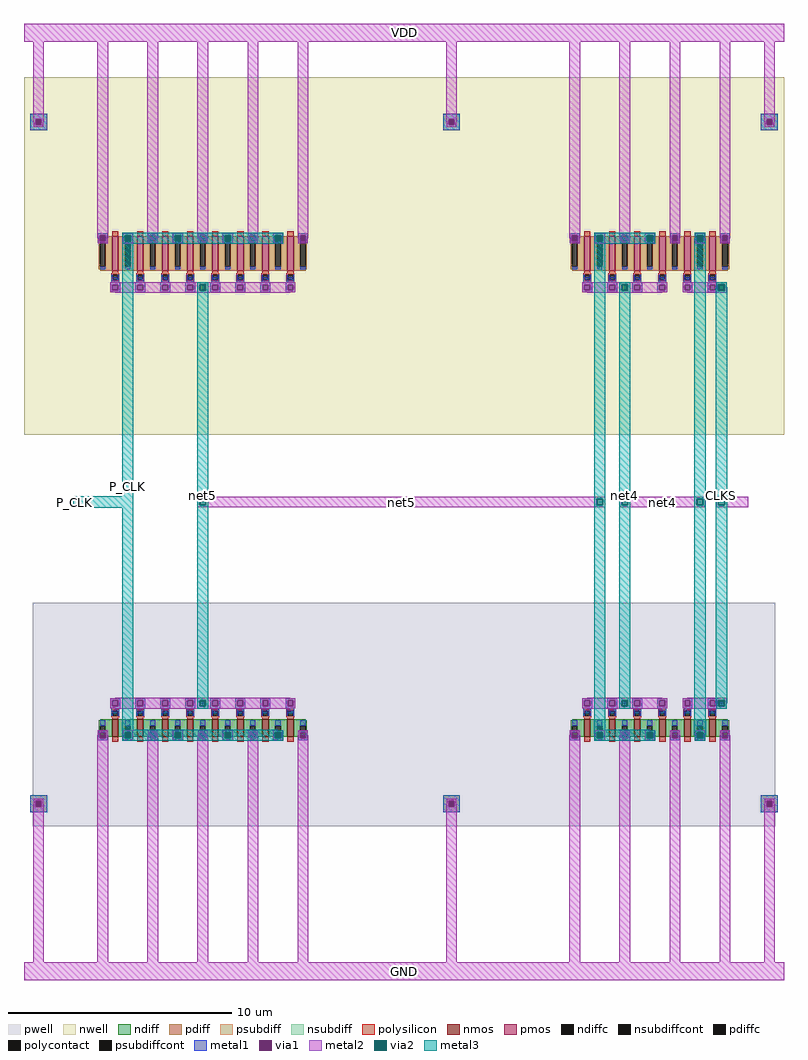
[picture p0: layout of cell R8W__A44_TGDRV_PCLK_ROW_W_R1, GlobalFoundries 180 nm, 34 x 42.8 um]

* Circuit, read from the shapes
.subckt R8W__A44_TGDRV_PCLK_ROW_W_R1 CLKS GND P_CLK VDD net4 net5
XM1 P_CLK net5 GND GND nfet_03v3 w=0.78u l=0.28u m=8
XM2 net5 net4 GND GND nfet_03v3 w=0.78u l=0.28u m=4
XM3 net4 CLKS GND GND nfet_03v3 w=0.78u l=0.28u m=2
XM4 P_CLK net5 VDD VDD pfet_03v3 w=1.56u l=0.28u m=8
XM5 net5 net4 VDD VDD pfet_03v3 w=1.56u l=0.28u m=4
XM6 net4 CLKS VDD VDD pfet_03v3 w=1.56u l=0.28u m=2
.ends

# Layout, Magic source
magic
tech gf180mcuD
magscale 1 10
<< nwell >>
rect 0 13800 6800 17000
<< pwell >>
rect 80 10300 6720 12300
<< psubdiff >>
rect 54 10523 206 10576
rect 54 10477 107 10523
rect 153 10477 206 10523
rect 54 10424 206 10477
rect 3749 10523 3901 10576
rect 3749 10477 3802 10523
rect 3848 10477 3901 10523
rect 3749 10424 3901 10477
rect 6594 10523 6746 10576
rect 6594 10477 6647 10523
rect 6693 10477 6746 10523
rect 6594 10424 6746 10477
<< nsubdiff >>
rect 54 16623 206 16676
rect 54 16577 107 16623
rect 153 16577 206 16623
rect 54 16524 206 16577
rect 3749 16623 3901 16676
rect 3749 16577 3802 16623
rect 3848 16577 3901 16623
rect 3749 16524 3901 16577
rect 6594 16623 6746 16676
rect 6594 16577 6647 16623
rect 6693 16577 6746 16623
rect 6594 16524 6746 16577
<< psubdiffcont >>
rect 107 10477 153 10523
rect 3802 10477 3848 10523
rect 6647 10477 6693 10523
<< nsubdiffcont >>
rect 107 16577 153 16623
rect 3802 16577 3848 16623
rect 6647 16577 6693 16623
<< metal1 >>
rect 54 16626 206 16676
rect 54 16574 104 16626
rect 156 16574 206 16626
rect 54 16524 206 16574
rect 3749 16626 3901 16676
rect 3749 16574 3799 16626
rect 3851 16574 3901 16626
rect 3749 16524 3901 16574
rect 6594 16626 6746 16676
rect 6594 16574 6644 16626
rect 6696 16574 6746 16626
rect 6594 16524 6746 16574
rect 660 15585 748 15603
rect 660 15533 678 15585
rect 730 15533 748 15585
rect 660 15515 748 15533
rect 884 15585 972 15603
rect 884 15533 902 15585
rect 954 15533 972 15585
rect 884 15515 972 15533
rect 1108 15585 1196 15603
rect 1108 15533 1126 15585
rect 1178 15533 1196 15585
rect 1108 15515 1196 15533
rect 1332 15585 1420 15603
rect 1332 15533 1350 15585
rect 1402 15533 1420 15585
rect 1332 15515 1420 15533
rect 1556 15585 1644 15603
rect 1556 15533 1574 15585
rect 1626 15533 1644 15585
rect 1556 15515 1644 15533
rect 1780 15585 1868 15603
rect 1780 15533 1798 15585
rect 1850 15533 1868 15585
rect 1780 15515 1868 15533
rect 2004 15585 2092 15603
rect 2004 15533 2022 15585
rect 2074 15533 2092 15585
rect 2004 15515 2092 15533
rect 2228 15585 2316 15603
rect 2228 15533 2246 15585
rect 2298 15533 2316 15585
rect 2228 15515 2316 15533
rect 2452 15585 2540 15603
rect 2452 15533 2470 15585
rect 2522 15533 2540 15585
rect 2452 15515 2540 15533
rect 4884 15585 4972 15603
rect 4884 15533 4902 15585
rect 4954 15533 4972 15585
rect 4884 15515 4972 15533
rect 5108 15585 5196 15603
rect 5108 15533 5126 15585
rect 5178 15533 5196 15585
rect 5108 15515 5196 15533
rect 5332 15585 5420 15603
rect 5332 15533 5350 15585
rect 5402 15533 5420 15585
rect 5332 15515 5420 15533
rect 5556 15585 5644 15603
rect 5556 15533 5574 15585
rect 5626 15533 5644 15585
rect 5556 15515 5644 15533
rect 5780 15585 5868 15603
rect 5780 15533 5798 15585
rect 5850 15533 5868 15585
rect 5780 15515 5868 15533
rect 6004 15585 6092 15603
rect 6004 15533 6022 15585
rect 6074 15533 6092 15585
rect 6004 15515 6092 15533
rect 6228 15585 6316 15603
rect 6228 15533 6246 15585
rect 6298 15533 6316 15585
rect 6228 15515 6316 15533
rect 782 15164 850 15212
rect 1006 15164 1074 15212
rect 1230 15164 1298 15212
rect 1454 15164 1522 15212
rect 1678 15164 1746 15212
rect 1902 15164 1970 15212
rect 2126 15164 2194 15212
rect 2350 15164 2418 15212
rect 5006 15164 5074 15212
rect 5230 15164 5298 15212
rect 5454 15164 5522 15212
rect 5678 15164 5746 15212
rect 5902 15164 5970 15212
rect 6126 15164 6194 15212
rect 772 15146 860 15164
rect 772 15094 790 15146
rect 842 15094 860 15146
rect 772 15076 860 15094
rect 996 15146 1084 15164
rect 996 15094 1014 15146
rect 1066 15094 1084 15146
rect 996 15076 1084 15094
rect 1220 15146 1308 15164
rect 1220 15094 1238 15146
rect 1290 15094 1308 15146
rect 1220 15076 1308 15094
rect 1444 15146 1532 15164
rect 1444 15094 1462 15146
rect 1514 15094 1532 15146
rect 1444 15076 1532 15094
rect 1668 15146 1756 15164
rect 1668 15094 1686 15146
rect 1738 15094 1756 15146
rect 1668 15076 1756 15094
rect 1892 15146 1980 15164
rect 1892 15094 1910 15146
rect 1962 15094 1980 15146
rect 1892 15076 1980 15094
rect 2116 15146 2204 15164
rect 2116 15094 2134 15146
rect 2186 15094 2204 15146
rect 2116 15076 2204 15094
rect 2340 15146 2428 15164
rect 2340 15094 2358 15146
rect 2410 15094 2428 15146
rect 2340 15076 2428 15094
rect 4996 15146 5084 15164
rect 4996 15094 5014 15146
rect 5066 15094 5084 15146
rect 4996 15076 5084 15094
rect 5220 15146 5308 15164
rect 5220 15094 5238 15146
rect 5290 15094 5308 15146
rect 5220 15076 5308 15094
rect 5444 15146 5532 15164
rect 5444 15094 5462 15146
rect 5514 15094 5532 15146
rect 5444 15076 5532 15094
rect 5668 15146 5756 15164
rect 5668 15094 5686 15146
rect 5738 15094 5756 15146
rect 5668 15076 5756 15094
rect 5892 15146 5980 15164
rect 5892 15094 5910 15146
rect 5962 15094 5980 15146
rect 5892 15076 5980 15094
rect 6116 15146 6204 15164
rect 6116 15094 6134 15146
rect 6186 15094 6204 15146
rect 6116 15076 6204 15094
rect 772 11426 860 11444
rect 772 11374 790 11426
rect 842 11374 860 11426
rect 772 11356 860 11374
rect 996 11426 1084 11444
rect 996 11374 1014 11426
rect 1066 11374 1084 11426
rect 996 11356 1084 11374
rect 1220 11426 1308 11444
rect 1220 11374 1238 11426
rect 1290 11374 1308 11426
rect 1220 11356 1308 11374
rect 1444 11426 1532 11444
rect 1444 11374 1462 11426
rect 1514 11374 1532 11426
rect 1444 11356 1532 11374
rect 1668 11426 1756 11444
rect 1668 11374 1686 11426
rect 1738 11374 1756 11426
rect 1668 11356 1756 11374
rect 1892 11426 1980 11444
rect 1892 11374 1910 11426
rect 1962 11374 1980 11426
rect 1892 11356 1980 11374
rect 2116 11426 2204 11444
rect 2116 11374 2134 11426
rect 2186 11374 2204 11426
rect 2116 11356 2204 11374
rect 2340 11426 2428 11444
rect 2340 11374 2358 11426
rect 2410 11374 2428 11426
rect 2340 11356 2428 11374
rect 4996 11426 5084 11444
rect 4996 11374 5014 11426
rect 5066 11374 5084 11426
rect 4996 11356 5084 11374
rect 5220 11426 5308 11444
rect 5220 11374 5238 11426
rect 5290 11374 5308 11426
rect 5220 11356 5308 11374
rect 5444 11426 5532 11444
rect 5444 11374 5462 11426
rect 5514 11374 5532 11426
rect 5444 11356 5532 11374
rect 5668 11426 5756 11444
rect 5668 11374 5686 11426
rect 5738 11374 5756 11426
rect 5668 11356 5756 11374
rect 5892 11426 5980 11444
rect 5892 11374 5910 11426
rect 5962 11374 5980 11426
rect 5892 11356 5980 11374
rect 6116 11426 6204 11444
rect 6116 11374 6134 11426
rect 6186 11374 6204 11426
rect 6116 11356 6204 11374
rect 782 11310 850 11356
rect 1006 11310 1074 11356
rect 1230 11310 1298 11356
rect 1454 11310 1522 11356
rect 1678 11310 1746 11356
rect 1902 11310 1970 11356
rect 2126 11310 2194 11356
rect 2350 11310 2418 11356
rect 5006 11310 5074 11356
rect 5230 11310 5298 11356
rect 5454 11310 5522 11356
rect 5678 11310 5746 11356
rect 5902 11310 5970 11356
rect 6126 11310 6194 11356
rect 660 11138 748 11156
rect 660 11086 678 11138
rect 730 11086 748 11138
rect 660 11068 748 11086
rect 884 11138 972 11156
rect 884 11086 902 11138
rect 954 11086 972 11138
rect 884 11068 972 11086
rect 1108 11138 1196 11156
rect 1108 11086 1126 11138
rect 1178 11086 1196 11138
rect 1108 11068 1196 11086
rect 1332 11138 1420 11156
rect 1332 11086 1350 11138
rect 1402 11086 1420 11138
rect 1332 11068 1420 11086
rect 1556 11138 1644 11156
rect 1556 11086 1574 11138
rect 1626 11086 1644 11138
rect 1556 11068 1644 11086
rect 1780 11138 1868 11156
rect 1780 11086 1798 11138
rect 1850 11086 1868 11138
rect 1780 11068 1868 11086
rect 2004 11138 2092 11156
rect 2004 11086 2022 11138
rect 2074 11086 2092 11138
rect 2004 11068 2092 11086
rect 2228 11138 2316 11156
rect 2228 11086 2246 11138
rect 2298 11086 2316 11138
rect 2228 11068 2316 11086
rect 2452 11138 2540 11156
rect 2452 11086 2470 11138
rect 2522 11086 2540 11138
rect 2452 11068 2540 11086
rect 4884 11138 4972 11156
rect 4884 11086 4902 11138
rect 4954 11086 4972 11138
rect 4884 11068 4972 11086
rect 5108 11138 5196 11156
rect 5108 11086 5126 11138
rect 5178 11086 5196 11138
rect 5108 11068 5196 11086
rect 5332 11138 5420 11156
rect 5332 11086 5350 11138
rect 5402 11086 5420 11138
rect 5332 11068 5420 11086
rect 5556 11138 5644 11156
rect 5556 11086 5574 11138
rect 5626 11086 5644 11138
rect 5556 11068 5644 11086
rect 5780 11138 5868 11156
rect 5780 11086 5798 11138
rect 5850 11086 5868 11138
rect 5780 11068 5868 11086
rect 6004 11138 6092 11156
rect 6004 11086 6022 11138
rect 6074 11086 6092 11138
rect 6004 11068 6092 11086
rect 6228 11138 6316 11156
rect 6228 11086 6246 11138
rect 6298 11086 6316 11138
rect 6228 11068 6316 11086
rect 54 10526 206 10576
rect 54 10474 104 10526
rect 156 10474 206 10526
rect 54 10424 206 10474
rect 3749 10526 3901 10576
rect 3749 10474 3799 10526
rect 3851 10474 3901 10526
rect 3749 10424 3901 10474
rect 6594 10526 6746 10576
rect 6594 10474 6644 10526
rect 6696 10474 6746 10526
rect 6594 10424 6746 10474
<< via1 >>
rect 104 16623 156 16626
rect 104 16577 107 16623
rect 107 16577 153 16623
rect 153 16577 156 16623
rect 104 16574 156 16577
rect 3799 16623 3851 16626
rect 3799 16577 3802 16623
rect 3802 16577 3848 16623
rect 3848 16577 3851 16623
rect 3799 16574 3851 16577
rect 6644 16623 6696 16626
rect 6644 16577 6647 16623
rect 6647 16577 6693 16623
rect 6693 16577 6696 16623
rect 6644 16574 6696 16577
rect 678 15533 730 15585
rect 902 15533 954 15585
rect 1126 15533 1178 15585
rect 1350 15533 1402 15585
rect 1574 15533 1626 15585
rect 1798 15533 1850 15585
rect 2022 15533 2074 15585
rect 2246 15533 2298 15585
rect 2470 15533 2522 15585
rect 4902 15533 4954 15585
rect 5126 15533 5178 15585
rect 5350 15533 5402 15585
rect 5574 15533 5626 15585
rect 5798 15533 5850 15585
rect 6022 15533 6074 15585
rect 6246 15533 6298 15585
rect 790 15094 842 15146
rect 1014 15094 1066 15146
rect 1238 15094 1290 15146
rect 1462 15094 1514 15146
rect 1686 15094 1738 15146
rect 1910 15094 1962 15146
rect 2134 15094 2186 15146
rect 2358 15094 2410 15146
rect 5014 15094 5066 15146
rect 5238 15094 5290 15146
rect 5462 15094 5514 15146
rect 5686 15094 5738 15146
rect 5910 15094 5962 15146
rect 6134 15094 6186 15146
rect 790 11374 842 11426
rect 1014 11374 1066 11426
rect 1238 11374 1290 11426
rect 1462 11374 1514 11426
rect 1686 11374 1738 11426
rect 1910 11374 1962 11426
rect 2134 11374 2186 11426
rect 2358 11374 2410 11426
rect 5014 11374 5066 11426
rect 5238 11374 5290 11426
rect 5462 11374 5514 11426
rect 5686 11374 5738 11426
rect 5910 11374 5962 11426
rect 6134 11374 6186 11426
rect 678 11086 730 11138
rect 902 11086 954 11138
rect 1126 11086 1178 11138
rect 1350 11086 1402 11138
rect 1574 11086 1626 11138
rect 1798 11086 1850 11138
rect 2022 11086 2074 11138
rect 2246 11086 2298 11138
rect 2470 11086 2522 11138
rect 4902 11086 4954 11138
rect 5126 11086 5178 11138
rect 5350 11086 5402 11138
rect 5574 11086 5626 11138
rect 5798 11086 5850 11138
rect 6022 11086 6074 11138
rect 6246 11086 6298 11138
rect 104 10523 156 10526
rect 104 10477 107 10523
rect 107 10477 153 10523
rect 153 10477 156 10523
rect 104 10474 156 10477
rect 3799 10523 3851 10526
rect 3799 10477 3802 10523
rect 3802 10477 3848 10523
rect 3848 10477 3851 10523
rect 3799 10474 3851 10477
rect 6644 10523 6696 10526
rect 6644 10477 6647 10523
rect 6647 10477 6693 10523
rect 6693 10477 6696 10523
rect 6644 10474 6696 10477
<< metal2 >>
rect 0 17320 6800 17480
rect 82 16626 178 17320
rect 82 16600 104 16626
rect 86 16574 104 16600
rect 156 16600 178 16626
rect 156 16574 174 16600
rect 86 16556 174 16574
rect 656 15585 752 17320
rect 656 15559 678 15585
rect 660 15533 678 15559
rect 730 15559 752 15585
rect 880 15587 976 15607
rect 730 15533 748 15559
rect 660 15515 748 15533
rect 880 15531 900 15587
rect 956 15531 976 15587
rect 1104 15585 1200 17320
rect 1104 15559 1126 15585
rect 880 15511 976 15531
rect 1108 15533 1126 15559
rect 1178 15559 1200 15585
rect 1328 15587 1424 15607
rect 1178 15533 1196 15559
rect 1108 15515 1196 15533
rect 1328 15531 1348 15587
rect 1404 15531 1424 15587
rect 1552 15585 1648 17320
rect 1552 15559 1574 15585
rect 1328 15511 1424 15531
rect 1556 15533 1574 15559
rect 1626 15559 1648 15585
rect 1776 15587 1872 15607
rect 1626 15533 1644 15559
rect 1556 15515 1644 15533
rect 1776 15531 1796 15587
rect 1852 15531 1872 15587
rect 2000 15585 2096 17320
rect 2000 15559 2022 15585
rect 1776 15511 1872 15531
rect 2004 15533 2022 15559
rect 2074 15559 2096 15585
rect 2224 15587 2320 15607
rect 2074 15533 2092 15559
rect 2004 15515 2092 15533
rect 2224 15531 2244 15587
rect 2300 15531 2320 15587
rect 2448 15585 2544 17320
rect 3777 16626 3873 17320
rect 3777 16600 3799 16626
rect 3781 16574 3799 16600
rect 3851 16600 3873 16626
rect 3851 16574 3869 16600
rect 3781 16556 3869 16574
rect 2448 15559 2470 15585
rect 2224 15511 2320 15531
rect 2452 15533 2470 15559
rect 2522 15559 2544 15585
rect 4880 15585 4976 17320
rect 4880 15559 4902 15585
rect 2522 15533 2540 15559
rect 2452 15515 2540 15533
rect 4884 15533 4902 15559
rect 4954 15559 4976 15585
rect 5104 15587 5200 15607
rect 4954 15533 4972 15559
rect 4884 15515 4972 15533
rect 5104 15531 5124 15587
rect 5180 15531 5200 15587
rect 5328 15585 5424 17320
rect 5328 15559 5350 15585
rect 5104 15511 5200 15531
rect 5332 15533 5350 15559
rect 5402 15559 5424 15585
rect 5552 15587 5648 15607
rect 5402 15533 5420 15559
rect 5332 15515 5420 15533
rect 5552 15531 5572 15587
rect 5628 15531 5648 15587
rect 5776 15585 5872 17320
rect 5776 15559 5798 15585
rect 5552 15511 5648 15531
rect 5780 15533 5798 15559
rect 5850 15559 5872 15585
rect 6000 15587 6096 15607
rect 5850 15533 5868 15559
rect 5780 15515 5868 15533
rect 6000 15531 6020 15587
rect 6076 15531 6096 15587
rect 6224 15585 6320 17320
rect 6622 16626 6718 17320
rect 6622 16600 6644 16626
rect 6626 16574 6644 16600
rect 6696 16600 6718 16626
rect 6696 16574 6714 16600
rect 6626 16556 6714 16574
rect 6224 15559 6246 15585
rect 6000 15511 6096 15531
rect 6228 15533 6246 15559
rect 6298 15559 6320 15585
rect 6298 15533 6316 15559
rect 6228 15515 6316 15533
rect 816 15164 2384 15168
rect 5040 15164 5712 15168
rect 5936 15164 6288 15168
rect 772 15148 2428 15164
rect 772 15146 1572 15148
rect 772 15094 790 15146
rect 842 15094 1014 15146
rect 1066 15094 1238 15146
rect 1290 15094 1462 15146
rect 1514 15094 1572 15146
rect 772 15092 1572 15094
rect 1628 15146 2428 15148
rect 1628 15094 1686 15146
rect 1738 15094 1910 15146
rect 1962 15094 2134 15146
rect 2186 15094 2358 15146
rect 2410 15094 2428 15146
rect 1628 15092 2428 15094
rect 772 15076 2428 15092
rect 4996 15148 5756 15164
rect 4996 15146 5348 15148
rect 4996 15094 5014 15146
rect 5066 15094 5238 15146
rect 5290 15094 5348 15146
rect 4996 15092 5348 15094
rect 5404 15146 5756 15148
rect 5404 15094 5462 15146
rect 5514 15094 5686 15146
rect 5738 15094 5756 15146
rect 5404 15092 5756 15094
rect 4996 15076 5756 15092
rect 5892 15148 6288 15164
rect 5892 15146 6212 15148
rect 5892 15094 5910 15146
rect 5962 15094 6134 15146
rect 6186 15094 6212 15146
rect 5892 15092 6212 15094
rect 6268 15092 6288 15148
rect 5892 15076 6288 15092
rect 816 15072 2384 15076
rect 5040 15072 5712 15076
rect 5936 15072 6288 15076
rect 1552 13228 5200 13248
rect 1552 13172 1572 13228
rect 1628 13172 5124 13228
rect 5180 13172 5200 13228
rect 1552 13152 5200 13172
rect 5328 13228 6096 13248
rect 5328 13172 5348 13228
rect 5404 13172 6020 13228
rect 6076 13172 6096 13228
rect 5328 13152 6096 13172
rect 6192 13228 6480 13248
rect 6192 13172 6212 13228
rect 6268 13172 6480 13228
rect 6192 13152 6480 13172
rect 816 11444 2384 11448
rect 5040 11444 5712 11448
rect 5936 11444 6288 11448
rect 772 11428 2428 11444
rect 772 11426 1572 11428
rect 772 11374 790 11426
rect 842 11374 1014 11426
rect 1066 11374 1238 11426
rect 1290 11374 1462 11426
rect 1514 11374 1572 11426
rect 772 11372 1572 11374
rect 1628 11426 2428 11428
rect 1628 11374 1686 11426
rect 1738 11374 1910 11426
rect 1962 11374 2134 11426
rect 2186 11374 2358 11426
rect 2410 11374 2428 11426
rect 1628 11372 2428 11374
rect 772 11356 2428 11372
rect 4996 11428 5756 11444
rect 4996 11426 5348 11428
rect 4996 11374 5014 11426
rect 5066 11374 5238 11426
rect 5290 11374 5348 11426
rect 4996 11372 5348 11374
rect 5404 11426 5756 11428
rect 5404 11374 5462 11426
rect 5514 11374 5686 11426
rect 5738 11374 5756 11426
rect 5404 11372 5756 11374
rect 4996 11356 5756 11372
rect 5892 11428 6288 11444
rect 5892 11426 6212 11428
rect 5892 11374 5910 11426
rect 5962 11374 6134 11426
rect 6186 11374 6212 11426
rect 5892 11372 6212 11374
rect 6268 11372 6288 11428
rect 5892 11356 6288 11372
rect 816 11352 2384 11356
rect 5040 11352 5712 11356
rect 5936 11352 6288 11356
rect 660 11138 748 11156
rect 660 11112 678 11138
rect 656 11086 678 11112
rect 730 11112 748 11138
rect 880 11140 976 11160
rect 730 11086 752 11112
rect 86 10526 174 10544
rect 86 10500 104 10526
rect 82 10474 104 10500
rect 156 10500 174 10526
rect 156 10474 178 10500
rect 82 9080 178 10474
rect 656 9080 752 11086
rect 880 11084 900 11140
rect 956 11084 976 11140
rect 1108 11138 1196 11156
rect 1108 11112 1126 11138
rect 880 11064 976 11084
rect 1104 11086 1126 11112
rect 1178 11112 1196 11138
rect 1328 11140 1424 11160
rect 1178 11086 1200 11112
rect 1104 9080 1200 11086
rect 1328 11084 1348 11140
rect 1404 11084 1424 11140
rect 1556 11138 1644 11156
rect 1556 11112 1574 11138
rect 1328 11064 1424 11084
rect 1552 11086 1574 11112
rect 1626 11112 1644 11138
rect 1776 11140 1872 11160
rect 1626 11086 1648 11112
rect 1552 9080 1648 11086
rect 1776 11084 1796 11140
rect 1852 11084 1872 11140
rect 2004 11138 2092 11156
rect 2004 11112 2022 11138
rect 1776 11064 1872 11084
rect 2000 11086 2022 11112
rect 2074 11112 2092 11138
rect 2224 11140 2320 11160
rect 2074 11086 2096 11112
rect 2000 9080 2096 11086
rect 2224 11084 2244 11140
rect 2300 11084 2320 11140
rect 2452 11138 2540 11156
rect 2452 11112 2470 11138
rect 2224 11064 2320 11084
rect 2448 11086 2470 11112
rect 2522 11112 2540 11138
rect 4884 11138 4972 11156
rect 4884 11112 4902 11138
rect 2522 11086 2544 11112
rect 2448 9080 2544 11086
rect 4880 11086 4902 11112
rect 4954 11112 4972 11138
rect 5104 11140 5200 11160
rect 4954 11086 4976 11112
rect 3781 10526 3869 10544
rect 3781 10500 3799 10526
rect 3777 10474 3799 10500
rect 3851 10500 3869 10526
rect 3851 10474 3873 10500
rect 3777 9080 3873 10474
rect 4880 9080 4976 11086
rect 5104 11084 5124 11140
rect 5180 11084 5200 11140
rect 5332 11138 5420 11156
rect 5332 11112 5350 11138
rect 5104 11064 5200 11084
rect 5328 11086 5350 11112
rect 5402 11112 5420 11138
rect 5552 11140 5648 11160
rect 5402 11086 5424 11112
rect 5328 9080 5424 11086
rect 5552 11084 5572 11140
rect 5628 11084 5648 11140
rect 5780 11138 5868 11156
rect 5780 11112 5798 11138
rect 5552 11064 5648 11084
rect 5776 11086 5798 11112
rect 5850 11112 5868 11138
rect 6000 11140 6096 11160
rect 5850 11086 5872 11112
rect 5776 9080 5872 11086
rect 6000 11084 6020 11140
rect 6076 11084 6096 11140
rect 6228 11138 6316 11156
rect 6228 11112 6246 11138
rect 6000 11064 6096 11084
rect 6224 11086 6246 11112
rect 6298 11112 6316 11138
rect 6298 11086 6320 11112
rect 6224 9080 6320 11086
rect 6626 10526 6714 10544
rect 6626 10500 6644 10526
rect 6622 10474 6644 10500
rect 6696 10500 6714 10526
rect 6696 10474 6718 10500
rect 6622 9080 6718 10474
rect 0 8920 6800 9080
<< via2 >>
rect 900 15585 956 15587
rect 900 15533 902 15585
rect 902 15533 954 15585
rect 954 15533 956 15585
rect 900 15531 956 15533
rect 1348 15585 1404 15587
rect 1348 15533 1350 15585
rect 1350 15533 1402 15585
rect 1402 15533 1404 15585
rect 1348 15531 1404 15533
rect 1796 15585 1852 15587
rect 1796 15533 1798 15585
rect 1798 15533 1850 15585
rect 1850 15533 1852 15585
rect 1796 15531 1852 15533
rect 2244 15585 2300 15587
rect 2244 15533 2246 15585
rect 2246 15533 2298 15585
rect 2298 15533 2300 15585
rect 2244 15531 2300 15533
rect 5124 15585 5180 15587
rect 5124 15533 5126 15585
rect 5126 15533 5178 15585
rect 5178 15533 5180 15585
rect 5124 15531 5180 15533
rect 5572 15585 5628 15587
rect 5572 15533 5574 15585
rect 5574 15533 5626 15585
rect 5626 15533 5628 15585
rect 5572 15531 5628 15533
rect 6020 15585 6076 15587
rect 6020 15533 6022 15585
rect 6022 15533 6074 15585
rect 6074 15533 6076 15585
rect 6020 15531 6076 15533
rect 1572 15092 1628 15148
rect 5348 15092 5404 15148
rect 6212 15092 6268 15148
rect 1572 13172 1628 13228
rect 5124 13172 5180 13228
rect 5348 13172 5404 13228
rect 6020 13172 6076 13228
rect 6212 13172 6268 13228
rect 1572 11372 1628 11428
rect 5348 11372 5404 11428
rect 6212 11372 6268 11428
rect 900 11138 956 11140
rect 900 11086 902 11138
rect 902 11086 954 11138
rect 954 11086 956 11138
rect 900 11084 956 11086
rect 1348 11138 1404 11140
rect 1348 11086 1350 11138
rect 1350 11086 1402 11138
rect 1402 11086 1404 11138
rect 1348 11084 1404 11086
rect 1796 11138 1852 11140
rect 1796 11086 1798 11138
rect 1798 11086 1850 11138
rect 1850 11086 1852 11138
rect 1796 11084 1852 11086
rect 2244 11138 2300 11140
rect 2244 11086 2246 11138
rect 2246 11086 2298 11138
rect 2298 11086 2300 11138
rect 2244 11084 2300 11086
rect 5124 11138 5180 11140
rect 5124 11086 5126 11138
rect 5126 11086 5178 11138
rect 5178 11086 5180 11138
rect 5124 11084 5180 11086
rect 5572 11138 5628 11140
rect 5572 11086 5574 11138
rect 5574 11086 5626 11138
rect 5626 11086 5628 11138
rect 5572 11084 5628 11086
rect 6020 11138 6076 11140
rect 6020 11086 6022 11138
rect 6022 11086 6074 11138
rect 6074 11086 6076 11138
rect 6020 11084 6076 11086
<< metal3 >>
rect 928 15607 2272 15609
rect 5152 15607 5600 15609
rect 880 15587 2320 15607
rect 880 15559 900 15587
rect 878 15531 900 15559
rect 956 15531 1348 15587
rect 1404 15531 1796 15587
rect 1852 15531 2244 15587
rect 2300 15531 2320 15587
rect 5104 15587 5648 15607
rect 5104 15559 5124 15587
rect 878 15511 2320 15531
rect 5102 15531 5124 15559
rect 5180 15531 5572 15587
rect 5628 15531 5648 15587
rect 6000 15587 6096 15607
rect 6000 15559 6020 15587
rect 5102 15511 5648 15531
rect 5998 15531 6020 15559
rect 6076 15559 6096 15587
rect 6076 15531 6098 15559
rect 878 15509 2272 15511
rect 5102 15509 5600 15511
rect 878 13250 978 15509
rect 1552 15148 1648 15168
rect 1552 15120 1572 15148
rect 440 13150 978 13250
rect 878 11162 978 13150
rect 1550 15092 1572 15120
rect 1628 15120 1648 15148
rect 1628 15092 1650 15120
rect 1550 13228 1650 15092
rect 1550 13172 1572 13228
rect 1628 13172 1650 13228
rect 1550 11428 1650 13172
rect 1550 11400 1572 11428
rect 1552 11372 1572 11400
rect 1628 11400 1650 11428
rect 5102 13228 5202 15509
rect 5328 15148 5424 15168
rect 5328 15120 5348 15148
rect 5102 13172 5124 13228
rect 5180 13172 5202 13228
rect 1628 11372 1648 11400
rect 1552 11352 1648 11372
rect 5102 11162 5202 13172
rect 5326 15092 5348 15120
rect 5404 15120 5424 15148
rect 5404 15092 5426 15120
rect 5326 13228 5426 15092
rect 5326 13172 5348 13228
rect 5404 13172 5426 13228
rect 5326 11428 5426 13172
rect 5326 11400 5348 11428
rect 5328 11372 5348 11400
rect 5404 11400 5426 11428
rect 5998 13228 6098 15531
rect 6192 15148 6288 15168
rect 6192 15120 6212 15148
rect 5998 13172 6020 13228
rect 6076 13172 6098 13228
rect 5404 11372 5424 11400
rect 5328 11352 5424 11372
rect 878 11160 2272 11162
rect 5102 11160 5600 11162
rect 878 11140 2320 11160
rect 878 11112 900 11140
rect 880 11084 900 11112
rect 956 11084 1348 11140
rect 1404 11084 1796 11140
rect 1852 11084 2244 11140
rect 2300 11084 2320 11140
rect 5102 11140 5648 11160
rect 5102 11112 5124 11140
rect 880 11064 2320 11084
rect 5104 11084 5124 11112
rect 5180 11084 5572 11140
rect 5628 11084 5648 11140
rect 5998 11140 6098 13172
rect 6190 15092 6212 15120
rect 6268 15120 6288 15148
rect 6268 15092 6290 15120
rect 6190 13228 6290 15092
rect 6190 13172 6212 13228
rect 6268 13172 6290 13228
rect 6190 11428 6290 13172
rect 6190 11400 6212 11428
rect 6192 11372 6212 11400
rect 6268 11400 6290 11428
rect 6268 11372 6288 11400
rect 6192 11352 6288 11372
rect 5998 11112 6020 11140
rect 5104 11064 5648 11084
rect 6000 11084 6020 11112
rect 6076 11112 6098 11140
rect 6076 11084 6096 11112
rect 6000 11064 6096 11084
rect 928 11062 2272 11064
rect 5152 11062 5600 11064
use R8W__nfet_03v3_9HSG6M  PCLK_N_X2_X4_W_R0
transform 1 0 5600 0 1 11200
box -732 -170 732 170
use R8W__nfet_03v3_GE79XY  PCLK_N_X8_W_R0
transform 1 0 1600 0 1 11200
box -956 -170 956 170
use R8W__pfet_03v3_X2N4NU  PCLK_P_X2_X4_W_R0
transform 1 0 5600 0 1 15400
box -794 -310 794 310
use R8W__pfet_03v3_FKHA32  PCLK_P_X8_W_R0
transform 1 0 1600 0 1 15400
box -1018 -310 1018 310
<< labels >>
rlabel metal3 6240 13260 6240 13260 4 CLKS
rlabel metal3 6048 13335 6048 13335 4 net4
rlabel metal3 5376 13260 5376 13260 4 net4
rlabel metal3 5152 13335 5152 13335 4 net5
rlabel metal3 1600 13260 1600 13260 4 net5
rlabel metal3 928 13335 928 13335 4 P_CLK
rlabel metal3 450 13200 450 13200 4 P_CLK
rlabel metal2 5712 13200 5712 13200 4 net4
rlabel metal2 3376 13200 3376 13200 4 net5
rlabel metal2 6470 13200 6470 13200 4 CLKS
rlabel metal2 3400 17400 3400 17400 4 VDD
rlabel metal2 3400 9000 3400 9000 4 GND
<< properties >>
string GDS_END 298348
string GDS_FILE ../native_sources/A44_A_Q2_BEFORE_ESD.gds
string GDS_START 276644
string FIXED_BBOX 0 0 6800 18000
<< end >>

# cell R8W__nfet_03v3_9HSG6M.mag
magic
tech gf180mcuD
magscale 1 10
<< pwell >>
rect -732 -170 732 170
<< nmos >>
rect -588 -102 -532 54
rect -364 -102 -308 54
rect -140 -102 -84 54
rect 84 -102 140 54
rect 308 -102 364 54
rect 532 -102 588 54
<< ndiff >>
rect -695 48 -588 54
rect -708 -1 -588 48
rect -708 -47 -695 -1
rect -649 -47 -588 -1
rect -708 -96 -588 -47
rect -695 -102 -588 -96
rect -532 -1 -364 54
rect -532 -47 -471 -1
rect -425 -47 -364 -1
rect -532 -102 -364 -47
rect -308 -1 -140 54
rect -308 -47 -247 -1
rect -201 -47 -140 -1
rect -308 -102 -140 -47
rect -84 -1 84 54
rect -84 -47 -23 -1
rect 23 -47 84 -1
rect -84 -102 84 -47
rect 140 -1 308 54
rect 140 -47 201 -1
rect 247 -47 308 -1
rect 140 -102 308 -47
rect 364 -1 532 54
rect 364 -47 425 -1
rect 471 -47 532 -1
rect 364 -102 532 -47
rect 588 48 695 54
rect 588 -1 708 48
rect 588 -47 649 -1
rect 695 -47 708 -1
rect 588 -96 708 -47
rect 588 -102 695 -96
<< ndiffc >>
rect -695 -47 -649 -1
rect -471 -47 -425 -1
rect -247 -47 -201 -1
rect -23 -47 23 -1
rect 201 -47 247 -1
rect 425 -47 471 -1
rect 649 -47 695 -1
<< polysilicon >>
rect -596 133 -524 146
rect -596 87 -583 133
rect -537 87 -524 133
rect -596 74 -524 87
rect -372 133 -300 146
rect -372 87 -359 133
rect -313 87 -300 133
rect -372 74 -300 87
rect -148 133 -76 146
rect -148 87 -135 133
rect -89 87 -76 133
rect -148 74 -76 87
rect 76 133 148 146
rect 76 87 89 133
rect 135 87 148 133
rect 76 74 148 87
rect 300 133 372 146
rect 300 87 313 133
rect 359 87 372 133
rect 300 74 372 87
rect 524 133 596 146
rect 524 87 537 133
rect 583 87 596 133
rect 524 74 596 87
rect -588 54 -532 74
rect -364 54 -308 74
rect -140 54 -84 74
rect 84 54 140 74
rect 308 54 364 74
rect 532 54 588 74
rect -588 -146 -532 -102
rect -364 -146 -308 -102
rect -140 -146 -84 -102
rect 84 -146 140 -102
rect 308 -146 364 -102
rect 532 -146 588 -102
<< polycontact >>
rect -583 87 -537 133
rect -359 87 -313 133
rect -135 87 -89 133
rect 89 87 135 133
rect 313 87 359 133
rect 537 87 583 133
<< metal1 >>
rect -594 87 -583 133
rect -537 87 -526 133
rect -370 87 -359 133
rect -313 87 -302 133
rect -146 87 -135 133
rect -89 87 -78 133
rect 78 87 89 133
rect 135 87 146 133
rect 302 87 313 133
rect 359 87 370 133
rect 526 87 537 133
rect 583 87 594 133
rect -695 -1 -649 46
rect -695 -94 -649 -47
rect -471 -1 -425 46
rect -471 -94 -425 -47
rect -247 -1 -201 46
rect -247 -94 -201 -47
rect -23 -1 23 46
rect -23 -94 23 -47
rect 201 -1 247 46
rect 201 -94 247 -47
rect 425 -1 471 46
rect 425 -94 471 -47
rect 649 -1 695 46
rect 649 -94 695 -47
<< properties >>
string GDS_END 111950
string GDS_FILE ../native_sources/A44_A_Q2_BEFORE_ESD.gds
string GDS_START 108938
<< end >>

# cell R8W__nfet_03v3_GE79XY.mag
magic
tech gf180mcuD
magscale 1 10
<< pwell >>
rect -956 -170 956 170
<< nmos >>
rect -812 -102 -756 54
rect -588 -102 -532 54
rect -364 -102 -308 54
rect -140 -102 -84 54
rect 84 -102 140 54
rect 308 -102 364 54
rect 532 -102 588 54
rect 756 -102 812 54
<< ndiff >>
rect -919 48 -812 54
rect -932 -1 -812 48
rect -932 -47 -919 -1
rect -873 -47 -812 -1
rect -932 -96 -812 -47
rect -919 -102 -812 -96
rect -756 -1 -588 54
rect -756 -47 -695 -1
rect -649 -47 -588 -1
rect -756 -102 -588 -47
rect -532 -1 -364 54
rect -532 -47 -471 -1
rect -425 -47 -364 -1
rect -532 -102 -364 -47
rect -308 -1 -140 54
rect -308 -47 -247 -1
rect -201 -47 -140 -1
rect -308 -102 -140 -47
rect -84 -1 84 54
rect -84 -47 -23 -1
rect 23 -47 84 -1
rect -84 -102 84 -47
rect 140 -1 308 54
rect 140 -47 201 -1
rect 247 -47 308 -1
rect 140 -102 308 -47
rect 364 -1 532 54
rect 364 -47 425 -1
rect 471 -47 532 -1
rect 364 -102 532 -47
rect 588 -1 756 54
rect 588 -47 649 -1
rect 695 -47 756 -1
rect 588 -102 756 -47
rect 812 48 919 54
rect 812 -1 932 48
rect 812 -47 873 -1
rect 919 -47 932 -1
rect 812 -96 932 -47
rect 812 -102 919 -96
<< ndiffc >>
rect -919 -47 -873 -1
rect -695 -47 -649 -1
rect -471 -47 -425 -1
rect -247 -47 -201 -1
rect -23 -47 23 -1
rect 201 -47 247 -1
rect 425 -47 471 -1
rect 649 -47 695 -1
rect 873 -47 919 -1
<< polysilicon >>
rect -820 133 -748 146
rect -820 87 -807 133
rect -761 87 -748 133
rect -820 74 -748 87
rect -596 133 -524 146
rect -596 87 -583 133
rect -537 87 -524 133
rect -596 74 -524 87
rect -372 133 -300 146
rect -372 87 -359 133
rect -313 87 -300 133
rect -372 74 -300 87
rect -148 133 -76 146
rect -148 87 -135 133
rect -89 87 -76 133
rect -148 74 -76 87
rect 76 133 148 146
rect 76 87 89 133
rect 135 87 148 133
rect 76 74 148 87
rect 300 133 372 146
rect 300 87 313 133
rect 359 87 372 133
rect 300 74 372 87
rect 524 133 596 146
rect 524 87 537 133
rect 583 87 596 133
rect 524 74 596 87
rect 748 133 820 146
rect 748 87 761 133
rect 807 87 820 133
rect 748 74 820 87
rect -812 54 -756 74
rect -588 54 -532 74
rect -364 54 -308 74
rect -140 54 -84 74
rect 84 54 140 74
rect 308 54 364 74
rect 532 54 588 74
rect 756 54 812 74
rect -812 -146 -756 -102
rect -588 -146 -532 -102
rect -364 -146 -308 -102
rect -140 -146 -84 -102
rect 84 -146 140 -102
rect 308 -146 364 -102
rect 532 -146 588 -102
rect 756 -146 812 -102
<< polycontact >>
rect -807 87 -761 133
rect -583 87 -537 133
rect -359 87 -313 133
rect -135 87 -89 133
rect 89 87 135 133
rect 313 87 359 133
rect 537 87 583 133
rect 761 87 807 133
<< metal1 >>
rect -818 87 -807 133
rect -761 87 -750 133
rect -594 87 -583 133
rect -537 87 -526 133
rect -370 87 -359 133
rect -313 87 -302 133
rect -146 87 -135 133
rect -89 87 -78 133
rect 78 87 89 133
rect 135 87 146 133
rect 302 87 313 133
rect 359 87 370 133
rect 526 87 537 133
rect 583 87 594 133
rect 750 87 761 133
rect 807 87 818 133
rect -919 -1 -873 46
rect -919 -94 -873 -47
rect -695 -1 -649 46
rect -695 -94 -649 -47
rect -471 -1 -425 46
rect -471 -94 -425 -47
rect -247 -1 -201 46
rect -247 -94 -201 -47
rect -23 -1 23 46
rect -23 -94 23 -47
rect 201 -1 247 46
rect 201 -94 247 -47
rect 425 -1 471 46
rect 425 -94 471 -47
rect 649 -1 695 46
rect 649 -94 695 -47
rect 873 -1 919 46
rect 873 -94 919 -47
<< properties >>
string GDS_END 115784
string GDS_FILE ../native_sources/A44_A_Q2_BEFORE_ESD.gds
string GDS_START 112004
<< end >>

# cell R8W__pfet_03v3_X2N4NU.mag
magic
tech gf180mcuD
magscale 1 10
<< nwell >>
rect -794 -310 794 310
<< pmos >>
rect -588 -132 -532 180
rect -364 -132 -308 180
rect -140 -132 -84 180
rect 84 -132 140 180
rect 308 -132 364 180
rect 532 -132 588 180
<< pdiff >>
rect -695 166 -588 180
rect -708 141 -588 166
rect -708 -93 -695 141
rect -649 -93 -588 141
rect -708 -118 -588 -93
rect -695 -132 -588 -118
rect -532 141 -364 180
rect -532 -93 -471 141
rect -425 -93 -364 141
rect -532 -132 -364 -93
rect -308 141 -140 180
rect -308 -93 -247 141
rect -201 -93 -140 141
rect -308 -132 -140 -93
rect -84 141 84 180
rect -84 -93 -23 141
rect 23 -93 84 141
rect -84 -132 84 -93
rect 140 141 308 180
rect 140 -93 201 141
rect 247 -93 308 141
rect 140 -132 308 -93
rect 364 141 532 180
rect 364 -93 425 141
rect 471 -93 532 141
rect 364 -132 532 -93
rect 588 166 695 180
rect 588 141 708 166
rect 588 -93 649 141
rect 695 -93 708 141
rect 588 -118 708 -93
rect 588 -132 695 -118
<< pdiffc >>
rect -695 -93 -649 141
rect -471 -93 -425 141
rect -247 -93 -201 141
rect -23 -93 23 141
rect 201 -93 247 141
rect 425 -93 471 141
rect 649 -93 695 141
<< polysilicon >>
rect -588 180 -532 224
rect -364 180 -308 224
rect -140 180 -84 224
rect 84 180 140 224
rect 308 180 364 224
rect 532 180 588 224
rect -588 -152 -532 -132
rect -364 -152 -308 -132
rect -140 -152 -84 -132
rect 84 -152 140 -132
rect 308 -152 364 -132
rect 532 -152 588 -132
rect -596 -165 -524 -152
rect -596 -211 -583 -165
rect -537 -211 -524 -165
rect -596 -224 -524 -211
rect -372 -165 -300 -152
rect -372 -211 -359 -165
rect -313 -211 -300 -165
rect -372 -224 -300 -211
rect -148 -165 -76 -152
rect -148 -211 -135 -165
rect -89 -211 -76 -165
rect -148 -224 -76 -211
rect 76 -165 148 -152
rect 76 -211 89 -165
rect 135 -211 148 -165
rect 76 -224 148 -211
rect 300 -165 372 -152
rect 300 -211 313 -165
rect 359 -211 372 -165
rect 300 -224 372 -211
rect 524 -165 596 -152
rect 524 -211 537 -165
rect 583 -211 596 -165
rect 524 -224 596 -211
<< polycontact >>
rect -583 -211 -537 -165
rect -359 -211 -313 -165
rect -135 -211 -89 -165
rect 89 -211 135 -165
rect 313 -211 359 -165
rect 537 -211 583 -165
<< metal1 >>
rect -695 141 -649 164
rect -695 -116 -649 -93
rect -471 141 -425 164
rect -471 -116 -425 -93
rect -247 141 -201 164
rect -247 -116 -201 -93
rect -23 141 23 164
rect -23 -116 23 -93
rect 201 141 247 164
rect 201 -116 247 -93
rect 425 141 471 164
rect 425 -116 471 -93
rect 649 141 695 164
rect 649 -116 695 -93
rect -594 -211 -583 -165
rect -537 -211 -526 -165
rect -370 -211 -359 -165
rect -313 -211 -302 -165
rect -146 -211 -135 -165
rect -89 -211 -78 -165
rect 78 -211 89 -165
rect 135 -211 146 -165
rect 302 -211 313 -165
rect 359 -211 370 -165
rect 526 -211 537 -165
rect 583 -211 594 -165
<< properties >>
string GDS_END 119746
string GDS_FILE ../native_sources/A44_A_Q2_BEFORE_ESD.gds
string GDS_START 115838
<< end >>

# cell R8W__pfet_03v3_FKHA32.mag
magic
tech gf180mcuD
magscale 1 10
<< nwell >>
rect -1018 -310 1018 310
<< pmos >>
rect -812 -132 -756 180
rect -588 -132 -532 180
rect -364 -132 -308 180
rect -140 -132 -84 180
rect 84 -132 140 180
rect 308 -132 364 180
rect 532 -132 588 180
rect 756 -132 812 180
<< pdiff >>
rect -919 166 -812 180
rect -932 141 -812 166
rect -932 -93 -919 141
rect -873 -93 -812 141
rect -932 -118 -812 -93
rect -919 -132 -812 -118
rect -756 141 -588 180
rect -756 -93 -695 141
rect -649 -93 -588 141
rect -756 -132 -588 -93
rect -532 141 -364 180
rect -532 -93 -471 141
rect -425 -93 -364 141
rect -532 -132 -364 -93
rect -308 141 -140 180
rect -308 -93 -247 141
rect -201 -93 -140 141
rect -308 -132 -140 -93
rect -84 141 84 180
rect -84 -93 -23 141
rect 23 -93 84 141
rect -84 -132 84 -93
rect 140 141 308 180
rect 140 -93 201 141
rect 247 -93 308 141
rect 140 -132 308 -93
rect 364 141 532 180
rect 364 -93 425 141
rect 471 -93 532 141
rect 364 -132 532 -93
rect 588 141 756 180
rect 588 -93 649 141
rect 695 -93 756 141
rect 588 -132 756 -93
rect 812 166 919 180
rect 812 141 932 166
rect 812 -93 873 141
rect 919 -93 932 141
rect 812 -118 932 -93
rect 812 -132 919 -118
<< pdiffc >>
rect -919 -93 -873 141
rect -695 -93 -649 141
rect -471 -93 -425 141
rect -247 -93 -201 141
rect -23 -93 23 141
rect 201 -93 247 141
rect 425 -93 471 141
rect 649 -93 695 141
rect 873 -93 919 141
<< polysilicon >>
rect -812 180 -756 224
rect -588 180 -532 224
rect -364 180 -308 224
rect -140 180 -84 224
rect 84 180 140 224
rect 308 180 364 224
rect 532 180 588 224
rect 756 180 812 224
rect -812 -152 -756 -132
rect -588 -152 -532 -132
rect -364 -152 -308 -132
rect -140 -152 -84 -132
rect 84 -152 140 -132
rect 308 -152 364 -132
rect 532 -152 588 -132
rect 756 -152 812 -132
rect -820 -165 -748 -152
rect -820 -211 -807 -165
rect -761 -211 -748 -165
rect -820 -224 -748 -211
rect -596 -165 -524 -152
rect -596 -211 -583 -165
rect -537 -211 -524 -165
rect -596 -224 -524 -211
rect -372 -165 -300 -152
rect -372 -211 -359 -165
rect -313 -211 -300 -165
rect -372 -224 -300 -211
rect -148 -165 -76 -152
rect -148 -211 -135 -165
rect -89 -211 -76 -165
rect -148 -224 -76 -211
rect 76 -165 148 -152
rect 76 -211 89 -165
rect 135 -211 148 -165
rect 76 -224 148 -211
rect 300 -165 372 -152
rect 300 -211 313 -165
rect 359 -211 372 -165
rect 300 -224 372 -211
rect 524 -165 596 -152
rect 524 -211 537 -165
rect 583 -211 596 -165
rect 524 -224 596 -211
rect 748 -165 820 -152
rect 748 -211 761 -165
rect 807 -211 820 -165
rect 748 -224 820 -211
<< polycontact >>
rect -807 -211 -761 -165
rect -583 -211 -537 -165
rect -359 -211 -313 -165
rect -135 -211 -89 -165
rect 89 -211 135 -165
rect 313 -211 359 -165
rect 537 -211 583 -165
rect 761 -211 807 -165
<< metal1 >>
rect -919 141 -873 164
rect -919 -116 -873 -93
rect -695 141 -649 164
rect -695 -116 -649 -93
rect -471 141 -425 164
rect -471 -116 -425 -93
rect -247 141 -201 164
rect -247 -116 -201 -93
rect -23 141 23 164
rect -23 -116 23 -93
rect 201 141 247 164
rect 201 -116 247 -93
rect 425 141 471 164
rect 425 -116 471 -93
rect 649 141 695 164
rect 649 -116 695 -93
rect 873 141 919 164
rect 873 -116 919 -93
rect -818 -211 -807 -165
rect -761 -211 -750 -165
rect -594 -211 -583 -165
rect -537 -211 -526 -165
rect -370 -211 -359 -165
rect -313 -211 -302 -165
rect -146 -211 -135 -165
rect -89 -211 -78 -165
rect 78 -211 89 -165
rect 135 -211 146 -165
rect 302 -211 313 -165
rect 359 -211 370 -165
rect 526 -211 537 -165
rect 583 -211 594 -165
rect 750 -211 761 -165
rect 807 -211 818 -165
<< properties >>
string GDS_END 124732
string GDS_FILE ../native_sources/A44_A_Q2_BEFORE_ESD.gds
string GDS_START 119800
<< end >>
